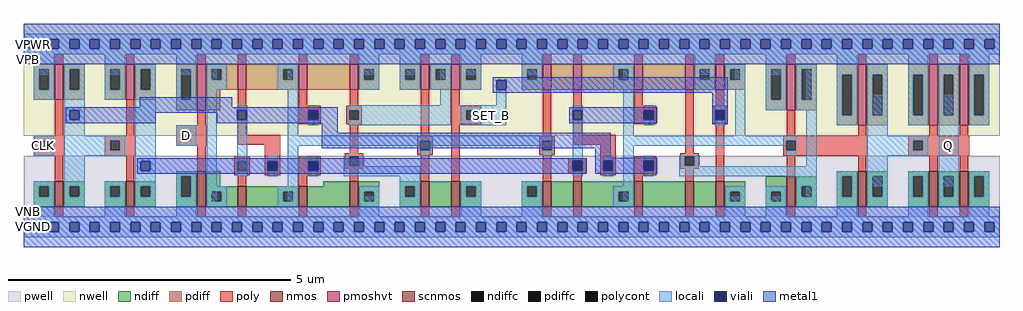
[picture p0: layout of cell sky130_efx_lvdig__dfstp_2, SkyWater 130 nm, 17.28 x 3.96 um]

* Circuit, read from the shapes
.subckt sky130_efx_lvdig__dfstp_2 CLK D SET_B Q VGND VPWR VPB VNB
XM1 n1 CLK VGND VNB sky130_fd_pr__nfet_01v8 w=0.45 l=0.15
XM2 n2 n1 VGND VNB sky130_fd_pr__nfet_01v8 w=0.45 l=0.15
XM3 n3 D VGND VNB sky130_fd_pr__nfet_01v8 w=0.63 l=0.15
XM4 n4 n1 n3 VNB sky130_fd_pr__nfet_01v8 w=0.36 l=0.15
XM5 n5 n2 n4 VNB sky130_fd_pr__nfet_01v8 w=0.36 l=0.15
XM6 VGND n6 n5 VNB sky130_fd_pr__nfet_01v8 w=0.45 l=0.15
XM7 n7 n4 n6 VNB sky130_fd_pr__nfet_01v8 w=0.45 l=0.15
XM8 VGND SET_B n7 VNB sky130_fd_pr__nfet_01v8 w=0.45 l=0.15
XM9 n8 n4 VGND VNB sky130_fd_pr__nfet_01v8 w=0.45 l=0.15
XM10 n9 n2 n8 VNB sky130_fd_pr__nfet_01v8 w=0.45 l=0.15
XM11 n10 n1 n9 VNB sky130_fd_pr__nfet_01v8 w=0.45 l=0.15
XM12 n11 n12 n10 VNB sky130_fd_pr__nfet_01v8 w=0.45 l=0.15
XM13 VGND SET_B n11 VNB sky130_fd_pr__nfet_01v8 w=0.45 l=0.15
XM14 n12 n9 VGND VNB sky130_fd_pr__nfet_01v8 w=0.54 l=0.15
XM15 nmos_n3f5_f1_l150_0/D0 n9 VGND VNB sky130_fd_pr__nfet_01v8 w=0.63 l=0.15
XM16 Q nmos_n3f5_f1_l150_0/D0 VGND VNB sky130_fd_pr__nfet_01v8 w=0.63 l=0.15 m=2
XM17 n1 CLK VPWR VPB sky130_fd_pr__pfet_01v8_hvt w=0.63 l=0.15
XM18 n2 n1 VPWR VPB sky130_fd_pr__pfet_01v8_hvt w=0.63 l=0.15
XM19 n3 D VPWR VPB sky130_fd_pr__pfet_01v8_hvt w=0.81 l=0.15
XM20 n4 n2 n3 VPB sky130_fd_pr__pfet_01v8_hvt w=0.45 l=0.15
XM21 n13 n1 n4 VPB sky130_fd_pr__pfet_01v8_hvt w=0.45 l=0.15
XM22 VPWR n6 n13 VPB sky130_fd_pr__pfet_01v8_hvt w=0.45 l=0.15
XM23 n6 n4 VPWR VPB sky130_fd_pr__pfet_01v8_hvt w=0.45 l=0.15
XM24 VPWR SET_B n6 VPB sky130_fd_pr__pfet_01v8_hvt w=0.45 l=0.15
XM25 n14 n4 VPWR VPB sky130_fd_pr__pfet_01v8_hvt w=0.45 l=0.15
XM26 n9 n1 n14 VPB sky130_fd_pr__pfet_01v8_hvt w=0.45 l=0.15
XM27 n15 n2 n9 VPB sky130_fd_pr__pfet_01v8_hvt w=0.45 l=0.15
XM28 VPWR n12 n15 VPB sky130_fd_pr__pfet_01v8_hvt w=0.45 l=0.15
XM29 n9 SET_B VPWR VPB sky130_fd_pr__pfet_01v8_hvt w=0.45 l=0.15
XM30 n12 n9 VPWR VPB sky130_fd_pr__pfet_01v8_hvt w=0.81 l=0.15
XM31 nmos_n3f5_f1_l150_0/D0 n9 VPWR VPB sky130_fd_pr__pfet_01v8_hvt w=1.08 l=0.15
XM32 Q nmos_n3f5_f1_l150_0/D0 VPWR VPB sky130_fd_pr__pfet_01v8_hvt w=1.08 l=0.15 m=2
.ends

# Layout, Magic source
magic
tech sky130A
magscale 1 2
<< nwell >>
rect 0 288 3456 684
<< pwell >>
rect 0 0 3456 216
<< poly >>
rect 615 324 645 378
rect 540 305 648 324
rect 36 269 144 288
rect 36 235 55 269
rect 89 235 144 269
rect 36 216 144 235
rect 288 269 396 288
rect 288 235 307 269
rect 341 235 396 269
rect 540 271 559 305
rect 593 271 648 305
rect 540 252 648 271
rect 759 291 789 450
rect 975 393 1005 450
rect 1155 393 1185 450
rect 975 377 1053 393
rect 975 343 1009 377
rect 1043 343 1053 377
rect 975 327 1053 343
rect 1143 377 1197 393
rect 1143 343 1153 377
rect 1187 343 1197 377
rect 1143 327 1197 343
rect 759 255 909 291
rect 288 216 396 235
rect 615 162 645 252
rect 747 197 801 213
rect 747 163 757 197
rect 791 163 801 197
rect 747 147 801 163
rect 855 197 909 255
rect 1155 225 1185 327
rect 1407 285 1437 450
rect 1515 393 1545 450
rect 1515 377 1620 393
rect 1515 343 1567 377
rect 1601 343 1620 377
rect 1515 327 1620 343
rect 1395 269 1449 285
rect 1395 235 1405 269
rect 1439 235 1449 269
rect 1137 215 1203 225
rect 1395 219 1449 235
rect 855 163 865 197
rect 899 163 909 197
rect 855 147 909 163
rect 975 197 1053 213
rect 975 163 1009 197
rect 1043 163 1053 197
rect 1137 181 1153 215
rect 1187 181 1203 215
rect 1137 171 1203 181
rect 975 147 1053 163
rect 759 108 789 147
rect 975 108 1005 147
rect 1155 126 1185 171
rect 1407 126 1437 219
rect 1515 126 1545 327
rect 1839 285 1869 450
rect 1947 291 1977 450
rect 2163 393 2193 450
rect 2163 377 2241 393
rect 2163 343 2197 377
rect 2231 343 2241 377
rect 2163 327 2241 343
rect 1827 269 1881 285
rect 1827 235 1837 269
rect 1871 235 1881 269
rect 1947 255 2097 291
rect 1827 219 1881 235
rect 1839 126 1869 219
rect 1929 198 1995 208
rect 1929 164 1945 198
rect 1979 164 1995 198
rect 1929 154 1995 164
rect 2043 198 2097 255
rect 2343 225 2373 450
rect 2451 393 2481 450
rect 2439 377 2493 393
rect 2439 343 2449 377
rect 2483 343 2493 377
rect 2439 327 2493 343
rect 2325 215 2391 225
rect 2043 164 2053 198
rect 2087 164 2097 198
rect 1947 126 1977 154
rect 2043 148 2097 164
rect 2163 198 2241 214
rect 2163 164 2197 198
rect 2231 164 2241 198
rect 2325 181 2341 215
rect 2375 181 2391 215
rect 2325 171 2391 181
rect 2163 148 2241 164
rect 2163 126 2193 148
rect 2343 126 2373 171
rect 2451 126 2481 327
rect 2691 269 2988 288
rect 2691 235 2701 269
rect 2735 235 2988 269
rect 2691 216 2988 235
rect 3132 269 3348 288
rect 3132 235 3151 269
rect 3185 235 3348 269
rect 3132 216 3348 235
<< polycont >>
rect 55 235 89 269
rect 307 235 341 269
rect 559 271 593 305
rect 1009 343 1043 377
rect 1153 343 1187 377
rect 757 163 791 197
rect 1567 343 1601 377
rect 1405 235 1439 269
rect 865 163 899 197
rect 1009 163 1043 197
rect 1153 181 1187 215
rect 2197 343 2231 377
rect 1837 235 1871 269
rect 1945 164 1979 198
rect 2449 343 2483 377
rect 2053 164 2087 198
rect 2197 164 2231 198
rect 2341 181 2375 215
rect 2701 235 2735 269
rect 3151 235 3185 269
<< locali >>
rect 0 629 3456 648
rect 0 595 19 629
rect 53 595 91 629
rect 125 595 163 629
rect 197 595 235 629
rect 269 595 307 629
rect 341 595 379 629
rect 413 595 451 629
rect 485 595 523 629
rect 557 595 595 629
rect 629 595 667 629
rect 701 595 739 629
rect 773 595 811 629
rect 845 595 883 629
rect 917 595 955 629
rect 989 595 1027 629
rect 1061 595 1099 629
rect 1133 595 1171 629
rect 1205 595 1243 629
rect 1277 595 1315 629
rect 1349 595 1387 629
rect 1421 595 1459 629
rect 1493 595 1531 629
rect 1565 595 1603 629
rect 1637 595 1675 629
rect 1709 595 1747 629
rect 1781 595 1819 629
rect 1853 595 1891 629
rect 1925 595 1963 629
rect 1997 595 2035 629
rect 2069 595 2107 629
rect 2141 595 2179 629
rect 2213 595 2251 629
rect 2285 595 2323 629
rect 2357 595 2395 629
rect 2429 595 2467 629
rect 2501 595 2539 629
rect 2573 595 2611 629
rect 2645 595 2683 629
rect 2717 595 2755 629
rect 2789 595 2827 629
rect 2861 595 2899 629
rect 2933 595 2971 629
rect 3005 595 3043 629
rect 3077 595 3115 629
rect 3149 595 3187 629
rect 3221 595 3259 629
rect 3293 595 3331 629
rect 3365 595 3403 629
rect 3437 595 3456 629
rect 0 576 3456 595
rect 36 504 108 576
rect 288 504 360 576
rect 540 504 612 576
rect 144 377 216 432
rect 144 343 163 377
rect 197 343 216 377
rect 144 288 216 343
rect 36 269 108 288
rect 36 235 55 269
rect 89 235 108 269
rect 36 216 108 235
rect 144 269 360 288
rect 144 235 307 269
rect 341 235 360 269
rect 144 216 360 235
rect 144 108 216 216
rect 396 197 468 432
rect 540 305 612 324
rect 540 271 559 305
rect 593 271 612 305
rect 540 252 612 271
rect 396 163 415 197
rect 449 163 468 197
rect 396 108 468 163
rect 36 0 108 72
rect 288 0 360 72
rect 540 0 612 72
rect 648 36 684 540
rect 756 377 792 396
rect 756 343 757 377
rect 791 343 792 377
rect 756 197 792 343
rect 936 288 972 540
rect 1188 504 1260 576
rect 1332 504 1404 576
rect 1476 396 1512 540
rect 1548 504 1620 576
rect 1764 504 1836 576
rect 1674 450 1675 484
rect 1709 450 1710 484
rect 1674 396 1710 450
rect 1008 377 1044 396
rect 1008 343 1009 377
rect 1043 343 1044 377
rect 1008 324 1044 343
rect 1152 377 1512 396
rect 1152 343 1153 377
rect 1187 343 1512 377
rect 1152 324 1512 343
rect 1548 377 1710 396
rect 1548 343 1567 377
rect 1601 343 1710 377
rect 1548 324 1710 343
rect 1944 377 1980 396
rect 1944 343 1945 377
rect 1979 343 1980 377
rect 936 269 1872 288
rect 936 252 1405 269
rect 756 163 757 197
rect 791 163 792 197
rect 756 144 792 163
rect 864 197 900 216
rect 864 163 865 197
rect 899 163 900 197
rect 864 144 900 163
rect 936 36 972 252
rect 1404 235 1405 252
rect 1439 252 1837 269
rect 1439 235 1440 252
rect 1404 216 1440 235
rect 1836 235 1837 252
rect 1871 235 1872 269
rect 1836 216 1872 235
rect 1008 197 1044 216
rect 1008 163 1009 197
rect 1043 163 1044 197
rect 1008 144 1044 163
rect 1134 215 1206 216
rect 1134 181 1153 215
rect 1187 181 1206 215
rect 1134 180 1206 181
rect 1944 198 1980 343
rect 2124 288 2160 540
rect 2376 504 2448 576
rect 2196 377 2232 396
rect 2196 343 2197 377
rect 2231 343 2232 377
rect 2196 324 2232 343
rect 2448 377 2484 396
rect 2448 343 2449 377
rect 2483 343 2484 377
rect 2448 324 2484 343
rect 2520 288 2556 540
rect 2628 504 2700 576
rect 2124 269 2736 288
rect 2124 252 2701 269
rect 1134 144 1404 180
rect 1944 164 1945 198
rect 1979 164 1980 198
rect 1944 144 1980 164
rect 2052 198 2088 216
rect 2052 164 2053 198
rect 2087 164 2088 198
rect 2052 144 2088 164
rect 1332 108 1404 144
rect 1188 0 1260 72
rect 1548 0 1620 72
rect 1764 0 1836 72
rect 2124 36 2160 252
rect 2700 235 2701 252
rect 2735 235 2736 269
rect 2700 216 2736 235
rect 2196 198 2232 216
rect 2196 164 2197 198
rect 2231 164 2232 198
rect 2196 144 2232 164
rect 2322 215 2394 216
rect 2322 181 2341 215
rect 2375 181 2394 215
rect 2322 180 2394 181
rect 2772 180 2808 540
rect 2880 504 2952 576
rect 3132 504 3204 576
rect 3348 504 3420 576
rect 2322 144 2808 180
rect 2484 0 2556 72
rect 2628 0 2700 72
rect 2772 36 2808 144
rect 2988 288 3060 432
rect 2988 269 3204 288
rect 2988 235 3151 269
rect 3185 235 3204 269
rect 2988 216 3204 235
rect 2988 108 3060 216
rect 3240 108 3312 432
rect 2880 0 2952 72
rect 3132 0 3204 72
rect 3348 0 3420 72
rect 0 -19 3456 0
rect 0 -53 19 -19
rect 53 -53 91 -19
rect 125 -53 163 -19
rect 197 -53 235 -19
rect 269 -53 307 -19
rect 341 -53 379 -19
rect 413 -53 451 -19
rect 485 -53 523 -19
rect 557 -53 595 -19
rect 629 -53 667 -19
rect 701 -53 739 -19
rect 773 -53 811 -19
rect 845 -53 883 -19
rect 917 -53 955 -19
rect 989 -53 1027 -19
rect 1061 -53 1099 -19
rect 1133 -53 1171 -19
rect 1205 -53 1243 -19
rect 1277 -53 1315 -19
rect 1349 -53 1387 -19
rect 1421 -53 1459 -19
rect 1493 -53 1531 -19
rect 1565 -53 1603 -19
rect 1637 -53 1675 -19
rect 1709 -53 1747 -19
rect 1781 -53 1819 -19
rect 1853 -53 1891 -19
rect 1925 -53 1963 -19
rect 1997 -53 2035 -19
rect 2069 -53 2107 -19
rect 2141 -53 2179 -19
rect 2213 -53 2251 -19
rect 2285 -53 2323 -19
rect 2357 -53 2395 -19
rect 2429 -53 2467 -19
rect 2501 -53 2539 -19
rect 2573 -53 2611 -19
rect 2645 -53 2683 -19
rect 2717 -53 2755 -19
rect 2789 -53 2827 -19
rect 2861 -53 2899 -19
rect 2933 -53 2971 -19
rect 3005 -53 3043 -19
rect 3077 -53 3115 -19
rect 3149 -53 3187 -19
rect 3221 -53 3259 -19
rect 3293 -53 3331 -19
rect 3365 -53 3403 -19
rect 3437 -53 3456 -19
rect 0 -72 3456 -53
<< viali >>
rect 19 595 53 629
rect 91 595 125 629
rect 163 595 197 629
rect 235 595 269 629
rect 307 595 341 629
rect 379 595 413 629
rect 451 595 485 629
rect 523 595 557 629
rect 595 595 629 629
rect 667 595 701 629
rect 739 595 773 629
rect 811 595 845 629
rect 883 595 917 629
rect 955 595 989 629
rect 1027 595 1061 629
rect 1099 595 1133 629
rect 1171 595 1205 629
rect 1243 595 1277 629
rect 1315 595 1349 629
rect 1387 595 1421 629
rect 1459 595 1493 629
rect 1531 595 1565 629
rect 1603 595 1637 629
rect 1675 595 1709 629
rect 1747 595 1781 629
rect 1819 595 1853 629
rect 1891 595 1925 629
rect 1963 595 1997 629
rect 2035 595 2069 629
rect 2107 595 2141 629
rect 2179 595 2213 629
rect 2251 595 2285 629
rect 2323 595 2357 629
rect 2395 595 2429 629
rect 2467 595 2501 629
rect 2539 595 2573 629
rect 2611 595 2645 629
rect 2683 595 2717 629
rect 2755 595 2789 629
rect 2827 595 2861 629
rect 2899 595 2933 629
rect 2971 595 3005 629
rect 3043 595 3077 629
rect 3115 595 3149 629
rect 3187 595 3221 629
rect 3259 595 3293 629
rect 3331 595 3365 629
rect 3403 595 3437 629
rect 163 343 197 377
rect 415 163 449 197
rect 757 343 791 377
rect 1675 450 1709 484
rect 1009 343 1043 377
rect 1945 343 1979 377
rect 865 163 899 197
rect 1009 163 1043 197
rect 2197 343 2231 377
rect 2449 343 2483 377
rect 1945 164 1979 198
rect 2053 164 2087 198
rect 2197 164 2231 198
rect 19 -53 53 -19
rect 91 -53 125 -19
rect 163 -53 197 -19
rect 235 -53 269 -19
rect 307 -53 341 -19
rect 379 -53 413 -19
rect 451 -53 485 -19
rect 523 -53 557 -19
rect 595 -53 629 -19
rect 667 -53 701 -19
rect 739 -53 773 -19
rect 811 -53 845 -19
rect 883 -53 917 -19
rect 955 -53 989 -19
rect 1027 -53 1061 -19
rect 1099 -53 1133 -19
rect 1171 -53 1205 -19
rect 1243 -53 1277 -19
rect 1315 -53 1349 -19
rect 1387 -53 1421 -19
rect 1459 -53 1493 -19
rect 1531 -53 1565 -19
rect 1603 -53 1637 -19
rect 1675 -53 1709 -19
rect 1747 -53 1781 -19
rect 1819 -53 1853 -19
rect 1891 -53 1925 -19
rect 1963 -53 1997 -19
rect 2035 -53 2069 -19
rect 2107 -53 2141 -19
rect 2179 -53 2213 -19
rect 2251 -53 2285 -19
rect 2323 -53 2357 -19
rect 2395 -53 2429 -19
rect 2467 -53 2501 -19
rect 2539 -53 2573 -19
rect 2611 -53 2645 -19
rect 2683 -53 2717 -19
rect 2755 -53 2789 -19
rect 2827 -53 2861 -19
rect 2899 -53 2933 -19
rect 2971 -53 3005 -19
rect 3043 -53 3077 -19
rect 3115 -53 3149 -19
rect 3187 -53 3221 -19
rect 3259 -53 3293 -19
rect 3331 -53 3365 -19
rect 3403 -53 3437 -19
<< metal1 >>
rect 0 629 3456 684
rect 0 595 19 629
rect 53 595 91 629
rect 125 595 163 629
rect 197 595 235 629
rect 269 595 307 629
rect 341 595 379 629
rect 413 595 451 629
rect 485 595 523 629
rect 557 595 595 629
rect 629 595 667 629
rect 701 595 739 629
rect 773 595 811 629
rect 845 595 883 629
rect 917 595 955 629
rect 989 595 1027 629
rect 1061 595 1099 629
rect 1133 595 1171 629
rect 1205 595 1243 629
rect 1277 595 1315 629
rect 1349 595 1387 629
rect 1421 595 1459 629
rect 1493 595 1531 629
rect 1565 595 1603 629
rect 1637 595 1675 629
rect 1709 595 1747 629
rect 1781 595 1819 629
rect 1853 595 1891 629
rect 1925 595 1963 629
rect 1997 595 2035 629
rect 2069 595 2107 629
rect 2141 595 2179 629
rect 2213 595 2251 629
rect 2285 595 2323 629
rect 2357 595 2395 629
rect 2429 595 2467 629
rect 2501 595 2539 629
rect 2573 595 2611 629
rect 2645 595 2683 629
rect 2717 595 2755 629
rect 2789 595 2827 629
rect 2861 595 2899 629
rect 2933 595 2971 629
rect 3005 595 3043 629
rect 3077 595 3115 629
rect 3149 595 3187 629
rect 3221 595 3259 629
rect 3293 595 3331 629
rect 3365 595 3403 629
rect 3437 595 3456 629
rect 0 540 3456 595
rect 1662 484 2494 495
rect 1662 450 1675 484
rect 1709 450 2494 484
rect 1662 439 2494 450
rect 412 388 740 424
rect 150 377 1112 388
rect 150 343 163 377
rect 197 368 757 377
rect 197 343 468 368
rect 150 332 468 343
rect 684 343 757 368
rect 791 343 1009 377
rect 1043 343 1112 377
rect 684 332 1112 343
rect 1932 377 2244 388
rect 1932 343 1945 377
rect 1979 343 2197 377
rect 2231 343 2244 377
rect 1932 332 2244 343
rect 2438 377 2494 439
rect 2438 343 2449 377
rect 2483 343 2494 377
rect 1056 298 1112 332
rect 2438 330 2494 343
rect 1056 242 2080 298
rect 2024 209 2080 242
rect 402 198 1992 208
rect 402 197 1945 198
rect 402 163 415 197
rect 449 163 865 197
rect 899 163 1009 197
rect 1043 164 1945 197
rect 1979 164 1992 198
rect 1043 163 1992 164
rect 402 152 1992 163
rect 2024 198 2244 209
rect 2024 164 2053 198
rect 2087 164 2197 198
rect 2231 164 2244 198
rect 2024 153 2244 164
rect 0 -19 3456 36
rect 0 -53 19 -19
rect 53 -53 91 -19
rect 125 -53 163 -19
rect 197 -53 235 -19
rect 269 -53 307 -19
rect 341 -53 379 -19
rect 413 -53 451 -19
rect 485 -53 523 -19
rect 557 -53 595 -19
rect 629 -53 667 -19
rect 701 -53 739 -19
rect 773 -53 811 -19
rect 845 -53 883 -19
rect 917 -53 955 -19
rect 989 -53 1027 -19
rect 1061 -53 1099 -19
rect 1133 -53 1171 -19
rect 1205 -53 1243 -19
rect 1277 -53 1315 -19
rect 1349 -53 1387 -19
rect 1421 -53 1459 -19
rect 1493 -53 1531 -19
rect 1565 -53 1603 -19
rect 1637 -53 1675 -19
rect 1709 -53 1747 -19
rect 1781 -53 1819 -19
rect 1853 -53 1891 -19
rect 1925 -53 1963 -19
rect 1997 -53 2035 -19
rect 2069 -53 2107 -19
rect 2141 -53 2179 -19
rect 2213 -53 2251 -19
rect 2285 -53 2323 -19
rect 2357 -53 2395 -19
rect 2429 -53 2467 -19
rect 2501 -53 2539 -19
rect 2573 -53 2611 -19
rect 2645 -53 2683 -19
rect 2717 -53 2755 -19
rect 2789 -53 2827 -19
rect 2861 -53 2899 -19
rect 2933 -53 2971 -19
rect 3005 -53 3043 -19
rect 3077 -53 3115 -19
rect 3149 -53 3187 -19
rect 3221 -53 3259 -19
rect 3293 -53 3331 -19
rect 3365 -53 3403 -19
rect 3437 -53 3456 -19
rect 0 -108 3456 -53
use nmos_isl_dfstp_m  nmos_isl_dfstp_m_0
transform 1 0 0 0 1 0
box 504 0 1296 216
use pmos_isl_dfstp_m  pmos_isl_dfstp_m_0
transform 1 0 0 0 1 0
box 504 288 1296 684
use nmos_isl_dfstp_nand  nmos_isl_dfstp_nand_0
transform 1 0 0 0 1 0
box 1296 0 1656 216
use pmos_isl_dfstp_nand  pmos_isl_dfstp_nand_0
transform 1 0 0 0 1 0
box 1296 288 1656 684
use nmos_isl_dfstp_s  nmos_isl_dfstp_s_0
transform 1 0 0 0 1 0
box 1728 0 2592 216
use pmos_isl_dfstp_s  pmos_isl_dfstp_s_0
transform 1 0 0 0 1 0
box 1728 288 2592 684
use nmos_n2f5_f1_l150_ff  nmos_n2f5_f1_l150_ff_0
transform 1 0 72 0 1 36
box -72 -36 180 180
use nmos_n2f5_f1_l150_ff  nmos_n2f5_f1_l150_ff_1
transform 1 0 324 0 1 36
box -72 -36 180 180
use nmos_n3_f1_l150_bf  nmos_n3_f1_l150_bf_0
transform 1 0 2664 0 1 36
box -72 -36 180 180
use nmos_n3f5_f1_l150  nmos_n3f5_f1_l150_0
transform 1 0 2916 0 1 36
box -72 -36 180 180
use nmos_n3f5_f2_l150_fff  nmos_n3f5_f2_l150_fff_0
transform 1 0 3168 0 1 36
box -72 -36 288 180
use pmos_n3f5_f1_l150_hvt_ff  pmos_n3f5_f1_l150_hvt_ff_0
transform 1 0 72 0 1 414
box -72 -126 180 162
use pmos_n3f5_f1_l150_hvt_ff  pmos_n3f5_f1_l150_hvt_ff_1
transform 1 0 324 0 1 414
box -72 -126 180 162
use pmos_n4f5_f1_l150_hvt_ff  pmos_n4f5_f1_l150_hvt_ff_0
transform 1 0 2664 0 1 378
box -72 -90 180 198
use pmos_n6_f1_l150_hvt  pmos_n6_f1_l150_hvt_0
transform 1 0 2916 0 1 324
box -72 -36 180 252
use pmos_n6_f2_l150_hvt  pmos_n6_f2_l150_hvt_0
transform 1 0 3168 0 1 324
box -72 -36 288 252
<< labels >>
flabel locali 36 216 108 288 0 FreeSans 288 0 0 0 CLK
port 1 nsew signal input
flabel locali 540 252 612 324 0 FreeSans 288 0 0 0 D
port 2 nsew signal input
flabel locali 1620 324 1692 396 0 FreeSans 288 0 0 0 SET_B
port 3 nsew signal input
flabel locali 3240 216 3312 288 0 FreeSans 288 0 0 0 Q
port 4 nsew signal output
flabel metal1 0 -72 72 0 0 FreeSans 288 0 0 0 VGND
port 5 nsew ground bidirectional
flabel metal1 0 576 72 648 0 FreeSans 288 0 0 0 VPWR
port 6 nsew power bidirectional
flabel nwell 0 540 36 576 0 FreeSans 288 0 0 0 VPB
port 7 nsew power bidirectional
flabel pwell 0 0 36 36 0 FreeSans 288 0 0 0 VNB
port 8 nsew ground bidirectional
<< properties >>
string FIXED_BBOX 0 -36 3456 612
<< end >>

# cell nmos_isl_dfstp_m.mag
magic
tech sky130A
magscale 1 2
<< pwell >>
rect 504 0 1296 216
<< nmos >>
rect 615 36 645 162
rect 1155 36 1185 126
<< scnmos >>
rect 759 36 789 108
rect 975 36 1005 108
<< ndiff >>
rect 540 144 615 162
rect 540 72 559 144
rect 593 72 615 144
rect 540 36 615 72
rect 645 108 696 162
rect 1062 108 1155 126
rect 645 89 759 108
rect 645 55 667 89
rect 701 55 759 89
rect 645 36 759 55
rect 789 89 975 108
rect 789 55 919 89
rect 953 55 975 89
rect 789 36 975 55
rect 1005 36 1155 108
rect 1185 89 1260 126
rect 1185 55 1207 89
rect 1241 55 1260 89
rect 1185 36 1260 55
<< ndiffc >>
rect 559 72 593 144
rect 667 55 701 89
rect 919 55 953 89
rect 1207 55 1241 89
<< poly >>
rect 615 162 645 198
rect 759 108 789 144
rect 975 108 1005 144
rect 1155 126 1185 162
rect 615 0 645 36
rect 759 0 789 36
rect 975 0 1005 36
rect 1155 0 1185 36
<< locali >>
rect 540 144 612 162
rect 540 72 559 144
rect 593 72 612 144
rect 540 36 612 72
rect 648 89 720 108
rect 648 55 667 89
rect 701 55 720 89
rect 648 36 720 55
rect 900 89 972 108
rect 900 55 919 89
rect 953 55 972 89
rect 900 36 972 55
rect 1188 89 1260 108
rect 1188 55 1207 89
rect 1241 55 1260 89
rect 1188 36 1260 55
<< end >>

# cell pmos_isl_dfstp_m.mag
magic
tech sky130A
magscale 1 2
<< nwell >>
rect 504 288 1296 684
<< pmoshvt >>
rect 615 378 645 540
rect 759 450 789 540
rect 975 450 1005 540
rect 1155 450 1185 540
<< pdiff >>
rect 540 522 615 540
rect 540 414 559 522
rect 593 414 615 522
rect 540 378 615 414
rect 645 522 759 540
rect 645 486 667 522
rect 701 486 759 522
rect 645 450 759 486
rect 789 522 975 540
rect 789 486 919 522
rect 953 486 975 522
rect 789 450 975 486
rect 1005 450 1155 540
rect 1185 522 1260 540
rect 1185 486 1207 522
rect 1241 486 1260 522
rect 1185 450 1260 486
rect 645 378 696 450
<< pdiffc >>
rect 559 414 593 522
rect 667 486 701 522
rect 919 486 953 522
rect 1207 486 1241 522
<< poly >>
rect 615 540 645 576
rect 759 540 789 576
rect 975 540 1005 576
rect 1155 540 1185 576
rect 759 414 789 450
rect 975 414 1005 450
rect 1155 414 1185 450
rect 615 342 645 378
<< locali >>
rect 540 522 612 540
rect 540 414 559 522
rect 593 414 612 522
rect 648 522 720 540
rect 648 486 667 522
rect 701 486 720 522
rect 648 450 720 486
rect 900 522 972 540
rect 900 486 919 522
rect 953 486 972 522
rect 900 450 972 486
rect 1188 522 1260 540
rect 1188 486 1207 522
rect 1241 486 1260 522
rect 1188 450 1260 486
rect 540 378 612 414
<< end >>

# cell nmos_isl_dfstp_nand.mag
magic
tech sky130A
magscale 1 2
<< pwell >>
rect 1296 0 1656 216
<< nmos >>
rect 1407 36 1437 126
rect 1515 36 1545 126
<< ndiff >>
rect 1332 108 1407 126
rect 1332 72 1351 108
rect 1385 72 1407 108
rect 1332 36 1407 72
rect 1437 36 1515 126
rect 1545 108 1620 126
rect 1545 72 1567 108
rect 1601 72 1620 108
rect 1545 36 1620 72
<< ndiffc >>
rect 1351 72 1385 108
rect 1567 72 1601 108
<< poly >>
rect 1407 126 1437 162
rect 1515 126 1545 162
rect 1407 0 1437 36
rect 1515 0 1545 36
<< locali >>
rect 1332 108 1404 126
rect 1332 72 1351 108
rect 1385 72 1404 108
rect 1332 36 1404 72
rect 1548 108 1620 126
rect 1548 72 1567 108
rect 1601 72 1620 108
rect 1548 36 1620 72
<< end >>

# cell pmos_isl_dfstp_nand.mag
magic
tech sky130A
magscale 1 2
<< nwell >>
rect 1296 288 1656 684
<< pmoshvt >>
rect 1407 450 1437 540
rect 1515 450 1545 540
<< pdiff >>
rect 1332 522 1407 540
rect 1332 486 1351 522
rect 1385 486 1407 522
rect 1332 450 1407 486
rect 1437 522 1515 540
rect 1437 486 1459 522
rect 1493 486 1515 522
rect 1437 450 1515 486
rect 1545 522 1620 540
rect 1545 486 1567 522
rect 1601 486 1620 522
rect 1545 450 1620 486
<< pdiffc >>
rect 1351 486 1385 522
rect 1459 486 1493 522
rect 1567 486 1601 522
<< poly >>
rect 1407 540 1437 576
rect 1515 540 1545 576
rect 1407 414 1437 450
rect 1515 414 1545 450
<< locali >>
rect 1332 522 1404 540
rect 1332 486 1351 522
rect 1385 486 1404 522
rect 1332 450 1404 486
rect 1440 522 1512 540
rect 1440 486 1459 522
rect 1493 486 1512 522
rect 1440 450 1512 486
rect 1548 522 1620 540
rect 1548 486 1567 522
rect 1601 486 1620 522
rect 1548 450 1620 486
<< end >>

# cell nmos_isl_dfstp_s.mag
magic
tech sky130A
magscale 1 2
<< pwell >>
rect 1728 0 2592 216
<< nmos >>
rect 1839 36 1869 126
rect 1947 36 1977 126
rect 2163 36 2193 126
rect 2343 36 2373 126
rect 2451 36 2481 126
<< ndiff >>
rect 1764 108 1839 126
rect 1764 72 1783 108
rect 1817 72 1839 108
rect 1764 36 1839 72
rect 1869 36 1947 126
rect 1977 89 2163 126
rect 1977 55 2107 89
rect 2141 55 2163 89
rect 1977 36 2163 55
rect 2193 36 2343 126
rect 2373 36 2451 126
rect 2481 89 2556 126
rect 2481 55 2503 89
rect 2537 55 2556 89
rect 2481 36 2556 55
<< ndiffc >>
rect 1783 72 1817 108
rect 2107 55 2141 89
rect 2503 55 2537 89
<< poly >>
rect 1839 126 1869 162
rect 1947 126 1977 162
rect 2163 126 2193 162
rect 2343 126 2373 162
rect 2451 126 2481 162
rect 1839 0 1869 36
rect 1947 0 1977 36
rect 2163 0 2193 36
rect 2343 0 2373 36
rect 2451 0 2481 36
<< locali >>
rect 1764 108 1836 126
rect 1764 72 1783 108
rect 1817 72 1836 108
rect 1764 36 1836 72
rect 2088 89 2160 108
rect 2088 55 2107 89
rect 2141 55 2160 89
rect 2088 36 2160 55
rect 2484 89 2556 108
rect 2484 55 2503 89
rect 2537 55 2556 89
rect 2484 36 2556 55
<< end >>

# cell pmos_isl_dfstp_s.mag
magic
tech sky130A
magscale 1 2
<< nwell >>
rect 1728 288 2592 684
<< pmoshvt >>
rect 1839 450 1869 540
rect 1947 450 1977 540
rect 2163 450 2193 540
rect 2343 450 2373 540
rect 2451 450 2481 540
<< pdiff >>
rect 1764 522 1839 540
rect 1764 486 1783 522
rect 1817 486 1839 522
rect 1764 450 1839 486
rect 1869 450 1947 540
rect 1977 522 2163 540
rect 1977 486 2107 522
rect 2141 486 2163 522
rect 1977 450 2163 486
rect 2193 450 2343 540
rect 2373 522 2451 540
rect 2373 486 2395 522
rect 2429 486 2451 522
rect 2373 450 2451 486
rect 2481 522 2556 540
rect 2481 486 2503 522
rect 2537 486 2556 522
rect 2481 450 2556 486
<< pdiffc >>
rect 1783 486 1817 522
rect 2107 486 2141 522
rect 2395 486 2429 522
rect 2503 486 2537 522
<< poly >>
rect 1839 540 1869 576
rect 1947 540 1977 576
rect 2163 540 2193 576
rect 2343 540 2373 576
rect 2451 540 2481 576
rect 1839 414 1869 450
rect 1947 414 1977 450
rect 2163 414 2193 450
rect 2343 414 2373 450
rect 2451 414 2481 450
<< locali >>
rect 1764 522 1836 540
rect 1764 486 1783 522
rect 1817 486 1836 522
rect 1764 450 1836 486
rect 2088 522 2160 540
rect 2088 486 2107 522
rect 2141 486 2160 522
rect 2088 450 2160 486
rect 2376 522 2448 540
rect 2376 486 2395 522
rect 2429 486 2448 522
rect 2376 450 2448 486
rect 2484 522 2556 540
rect 2484 486 2503 522
rect 2537 486 2556 522
rect 2484 450 2556 486
<< end >>

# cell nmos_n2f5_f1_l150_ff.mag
magic
tech sky130A
magscale 1 2
<< pwell >>
rect -72 -36 180 180
<< nmos >>
rect 39 0 69 90
<< ndiff >>
rect -36 72 39 90
rect -36 36 -17 72
rect 17 36 39 72
rect -36 0 39 36
rect 69 72 144 90
rect 69 36 91 72
rect 125 36 144 72
rect 69 0 144 36
<< ndiffc >>
rect -17 36 17 72
rect 91 36 125 72
<< poly >>
rect 39 90 69 180
rect 39 -36 69 0
<< locali >>
rect -36 72 36 90
rect -36 36 -17 72
rect 17 36 36 72
rect -36 0 36 36
rect 72 72 144 90
rect 72 36 91 72
rect 125 36 144 72
rect 72 0 144 36
<< end >>

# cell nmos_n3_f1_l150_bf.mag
magic
tech sky130A
magscale 1 2
<< pwell >>
rect -72 -36 180 180
<< nmos >>
rect 39 0 69 108
<< ndiff >>
rect -36 53 39 108
rect -36 19 -17 53
rect 17 19 39 53
rect -36 0 39 19
rect 69 72 144 108
rect 69 36 91 72
rect 125 36 144 72
rect 69 0 144 36
<< ndiffc >>
rect -17 19 17 53
rect 91 36 125 72
<< poly >>
rect 39 108 69 180
rect 39 -36 69 0
<< locali >>
rect 72 72 144 108
rect -36 53 36 72
rect -36 19 -17 53
rect 17 19 36 53
rect -36 0 36 19
rect 72 36 91 72
rect 125 36 144 72
rect 72 0 144 36
<< end >>

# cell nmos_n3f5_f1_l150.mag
magic
tech sky130A
magscale 1 2
<< pwell >>
rect -72 -36 180 180
<< nmos >>
rect 39 0 69 126
<< ndiff >>
rect -36 108 39 126
rect -36 36 -17 108
rect 17 36 39 108
rect -36 0 39 36
rect 69 108 144 126
rect 69 36 91 108
rect 125 36 144 108
rect 69 0 144 36
<< ndiffc >>
rect -17 36 17 108
rect 91 36 125 108
<< poly >>
rect 39 126 69 180
rect 39 -36 69 0
<< locali >>
rect -36 108 36 126
rect -36 36 -17 108
rect 17 36 36 108
rect -36 0 36 36
rect 72 108 144 126
rect 72 36 91 108
rect 125 36 144 108
rect 72 0 144 36
<< labels >>
rlabel locali 0 18 0 18 0 S0
port 1 nsew
rlabel locali 108 18 108 18 0 D0
port 2 nsew
<< end >>

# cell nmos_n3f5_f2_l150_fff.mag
magic
tech sky130A
magscale 1 2
<< pwell >>
rect -72 -36 288 180
<< nmos >>
rect 39 0 69 126
rect 147 0 177 126
<< ndiff >>
rect -36 108 39 126
rect -36 36 -17 108
rect 17 36 39 108
rect -36 0 39 36
rect 69 108 147 126
rect 69 36 91 108
rect 125 36 147 108
rect 69 0 147 36
rect 177 108 252 126
rect 177 36 199 108
rect 233 36 252 108
rect 177 0 252 36
<< ndiffc >>
rect -17 36 17 108
rect 91 36 125 108
rect 199 36 233 108
<< poly >>
rect 39 126 69 180
rect 147 126 177 180
rect 39 -36 69 0
rect 147 -36 177 0
<< locali >>
rect -36 108 36 126
rect -36 36 -17 108
rect 17 36 36 108
rect -36 0 36 36
rect 72 108 144 126
rect 72 36 91 108
rect 125 36 144 108
rect 72 0 144 36
rect 180 108 252 126
rect 180 36 199 108
rect 233 36 252 108
rect 180 0 252 36
<< end >>

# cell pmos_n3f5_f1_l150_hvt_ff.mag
magic
tech sky130A
magscale 1 2
<< nwell >>
rect -72 -126 180 162
<< pmoshvt >>
rect 39 0 69 126
<< pdiff >>
rect -36 108 39 126
rect -36 36 -17 108
rect 17 36 39 108
rect -36 0 39 36
rect 69 108 144 126
rect 69 36 91 108
rect 125 36 144 108
rect 69 0 144 36
<< pdiffc >>
rect -17 36 17 108
rect 91 36 125 108
<< poly >>
rect 39 126 69 162
rect 39 -126 69 0
<< locali >>
rect -36 108 36 126
rect -36 36 -17 108
rect 17 36 36 108
rect -36 0 36 36
rect 72 108 144 126
rect 72 36 91 108
rect 125 36 144 108
rect 72 0 144 36
<< end >>

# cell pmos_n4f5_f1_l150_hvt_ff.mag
magic
tech sky130A
magscale 1 2
<< nwell >>
rect -72 -90 180 198
<< pmoshvt >>
rect 39 0 69 162
<< pdiff >>
rect -36 144 39 162
rect -36 36 -17 144
rect 17 36 39 144
rect -36 0 39 36
rect 69 144 144 162
rect 69 36 91 144
rect 125 36 144 144
rect 69 0 144 36
<< pdiffc >>
rect -17 36 17 144
rect 91 36 125 144
<< poly >>
rect 39 162 69 198
rect 39 -90 69 0
<< locali >>
rect -36 144 36 162
rect -36 36 -17 144
rect 17 36 36 144
rect -36 0 36 36
rect 72 144 144 162
rect 72 36 91 144
rect 125 36 144 144
rect 72 0 144 36
<< end >>

# cell pmos_n6_f1_l150_hvt: kit device pmos, n 6 fingers 1 length 0.15 butted 0 ltap 0 rtap 0 vt hvt tgate 0 bgate 0

# cell pmos_n6_f2_l150_hvt: kit device pmos, n 6 fingers 2 length 0.15 butted 0 ltap 0 rtap 0 vt hvt tgate 0 bgate 0
